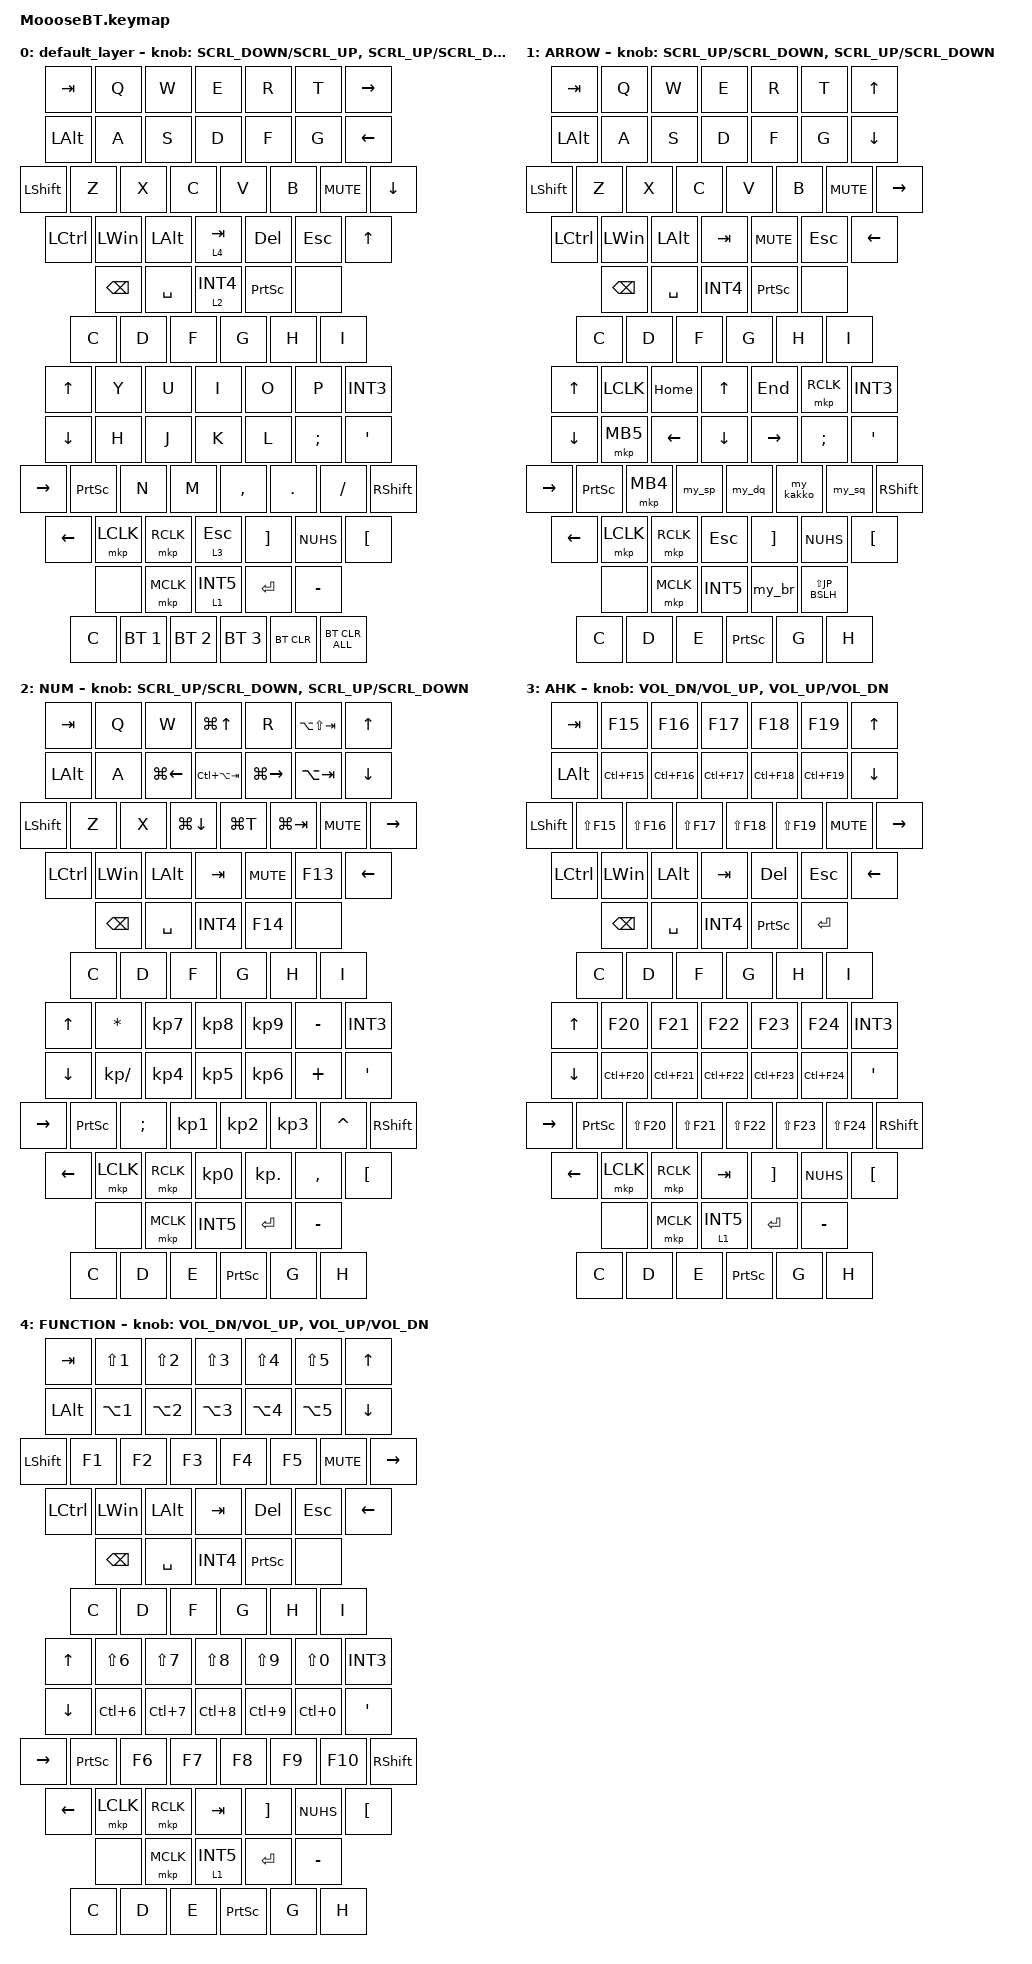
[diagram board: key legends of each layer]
#include <behaviors.dtsi>
#include <dt-bindings/zmk/bt.h>
#include <dt-bindings/zmk/keys.h>
#include <dt-bindings/zmk/mouse.h>
#include <dt-bindings/zmk/pointing.h>
#include <behaviors/rgbled_widget.dtsi>

#define ZMK_POINTING_DEFAULT_SCRL_VAL 100   //スクロール量

// Leyer
#define ARROW 1
#define NUM 2
#define AHK 3
#define FUNCTION 4
// #define SCROLL 5
// #define layer_6 6

// Japanese
#define JP_MINUS MINUS        // -
#define JP_CARET EQUAL        // ^
#define JP_YEN   INT3         // ¥
#define JP_AT    LBKT         // @
#define JP_LBKT  RBKT         // [
#define JP_EISU  CAPS         // Eisu (英数)
#define JP_SEMI  SEMI         // ;
#define JP_COLON SQT          // :
#define JP_RBKT  NUHS         // ]
#define JP_COMMA COMMA        // ,
#define JP_DOT   DOT          // .
#define JP_SLASH SLASH        // /
#define JP_BSLH  INT1         // (backslash)
#define JP_MHEN  INT5         // Muhenkan (無変換)
#define JP_HENK  INT4         // Henkan (変換)
#define JP_EXCL  LS(N1)       // !
#define JP_DQT   LS(N2)       // "
#define JP_HASH  LS(N3)       // #
#define JP_DLLR  LS(N4)       // $
#define JP_PRCNT LS(N5)       // %
#define JP_AMPS  LS(N6)       // &
#define JP_SQT   LS(N7)       // '
#define JP_LPAR  LS(N8)       // (
#define JP_RPAR  LS(N9)       // )
#define JP_EQUAL LS(JP_MINUS) // =
#define JP_TILDE LS(JP_CARET) // ~
#define JP_PIPE  LS(JP_YEN)   // |
#define JP_GRAVE LS(JP_AT)    // `
#define JP_LBRC  LS(JP_LBKT)  // {
#define JP_CAPS  LS(JP_EISU)  // Caps Lock
#define JP_PLUS  LS(JP_SEMI)  // +
#define JP_ASTRK LS(JP_COLON) // *
#define JP_RBRC  LS(JP_RBKT)  // }
#define JP_LT    LS(JP_COMMA) // <
#define JP_RT    LS(JP_DOT)   // >
#define JP_QMARK LS(JP_SLASH) // ?
#define JP_UNDER LS(JP_BSLH)  // _

/ {
    macros {
        to_layer_0: to_layer_0 {
            compatible = "zmk,behavior-macro-one-param";
            #binding-cells = <1>;
            bindings = <&to 0 &macro_param_1to1 &kp MACRO_PLACEHOLDER>;
            label = "TO_LAYER_0";
        };
        my_sp: my_sp {
            compatible = "zmk,behavior-macro";
            #binding-cells = <0>;
            bindings = <&macro_tap &kp JP_MHEN>
                , <&macro_tap &kp LS(N3)>
                ;
        };
        my_dq: my_dq {
            #binding-cells = <0>;
            compatible = "zmk,behavior-macro";
            bindings = <&macro_tap &kp JP_MHEN>
                , <&macro_tap &kp LS(N2)>
                , <&macro_tap &kp LS(N2)>
                ;
        };
        my_sq: my_sq {
            #binding-cells = <0>;
            compatible = "zmk,behavior-macro";
            bindings = <&macro_tap &kp JP_MHEN>
                , <&macro_tap &kp LS(N7)>
                , <&macro_tap &kp LS(N7)>
                ;
        };

        my_kakko: my_kakko {
            compatible = "zmk,behavior-macro";
            #binding-cells = <0>;
            bindings = <&macro_tap &kp JP_MHEN>
                , <&macro_tap &kp LS(N8)>
                , <&macro_tap &kp LS(N9)>
                ;
        };
        my_br: my_br {
            compatible = "zmk,behavior-macro";
            #binding-cells = <0>;
            bindings = <&macro_tap &kp JP_MHEN>
                , <&macro_tap &kp JP_LT>
                , <&macro_tap &kp B>
                , <&macro_tap &kp R>
                , <&macro_tap &kp JP_RT>
                ;
        };
    };

    behaviors {
        lt_to_layer_0: lt_to_layer_0 {
            compatible = "zmk,behavior-hold-tap";
            label = "LAYER_TAP_TO_0";
            bindings = <&mo>, <&to_layer_0>;
            #binding-cells = <2>;
            tapping-term-ms = <200>;
        };
        rot_kp: sensor_rotate_kp {
            compatible = "zmk,behavior-sensor-rotate-var";
            #sensor-binding-cells = <2>;
            bindings = <&kp>, <&kp>;
        };
        rot_mkp: sensor_rotate_mkp {
            compatible = "zmk,behavior-sensor-rotate-var";
            #sensor-binding-cells = <2>;
            bindings = <&mkp>, <&mkp>;
        };
        mouse_scroll: mouse_wheel_scrl{
            compatible = "zmk,behavior-sensor-rotate-var";
            #sensor-binding-cells = <2>;
            bindings = <&msc>, <&msc>;
            tap-ms = <20>;
        };
    };

    keymap {
        compatible = "zmk,keymap";
        default_layer {
            bindings = <
                &kp TAB     &kp Q      &kp W    &kp E   &kp R   &kp T                                       &kp RIGHT
                &kp LALT    &kp A      &kp S    &kp D   &kp F   &kp G                                       &kp LEFT
                &kp LSHIFT  &kp Z      &kp X    &kp C   &kp V   &kp B                            &kp C_MUTE &kp DOWN
                &kp LCTRL   &kp LWIN   &kp LALT &lt_to_layer_0 4 TAB                &kp DEL      &kp ESC    &kp UP
                                                &kp BSPC   &kp SPACE   &lt_to_layer_0 2 JP_HENK  &kp PSCRN  &none
                &kp C   &kp D           &kp F   &kp G   &kp H                       &kp I

                &kp UP                              &kp Y       &kp U          &kp I          &kp O        &kp P         &kp JP_YEN
                &kp DOWN                             &kp H       &kp J          &kp K          &kp L        &kp JP_SEMI   &kp JP_COLON
                &kp RIGHT  &kp PSCRN                 &kp N       &kp M          &kp JP_COMMA   &kp JP_DOT   &kp JP_SLASH  &kp RSHIFT
                &kp LEFT    &mkp LCLK  &mkp RCLK                                 &lt_to_layer_0 3 ESC        &kp JP_LBKT   &kp JP_RBKT   &kp JP_AT
                &none  &mkp MCLK  &lt_to_layer_0 1 JP_MHEN  &kp ENTER   &kp MINUS
                &kp C             &bt BT_SEL 1    &bt BT_SEL 2   &bt BT_SEL 3         &bt BT_CLR   &bt BT_CLR_ALL
            >;
            sensor-bindings =
                <&mouse_scroll SCRL_DOWN SCRL_UP>,
                <&mouse_scroll SCRL_UP SCRL_DOWN>;
        };
        ARROW {
            bindings = <
                &kp TAB     &kp Q      &kp W    &kp E   &kp R   &kp T                          &kp UP
                &kp LALT    &kp A      &kp S    &kp D   &kp F   &kp G                          &kp DOWN
                &kp LSHIFT  &kp Z      &kp X    &kp C   &kp V   &kp B               &kp C_MUTE &kp RIGHT
                &kp LCTRL   &kp LWIN   &kp LALT &kp TAB                &kp C_MUTE   &kp ESC    &kp LEFT
                                                &kp BSPC   &kp SPACE   &kp JP_HENK  &kp PSCRN  &none
                &kp C   &kp D           &kp F   &kp G   &kp H                       &kp I

                &kp UP                             &kp LCLK      &kp HOME       &kp UP         &kp END      &mkp RCLK     &kp JP_YEN
                &kp DOWN                           &mkp MB5      &kp LEFT       &kp DOWN       &kp RIGHT    &kp JP_SEMI   &kp JP_COLON
                &kp RIGHT  &kp PSCRN               &mkp MB4      &my_sp         &my_dq         &my_kakko    &my_sq  &kp RSHIFT
                &kp LEFT   &mkp LCLK  &mkp RCLK                                 &kp ESC        &kp JP_LBKT  &kp JP_RBKT   &kp JP_AT
                &none      &mkp MCLK  &kp JP_MHEN  &my_br &kp JP_UNDER
                &kp C           &kp D   &kp E   &kp PSCRN           &kp G   &kp H
            >;
            sensor-bindings = <&mouse_scroll SCRL_UP SCRL_DOWN &mouse_scroll SCRL_UP SCRL_DOWN>;
        };
        NUM {
            bindings = <
                &kp TAB     &kp Q      &kp W           &kp LG(UP)       &kp R           &kp LA(LS(TAB))                  &kp UP
                &kp LALT    &kp A      &kp LG(LEFT)    &kp LC(LA(TAB))  &kp LG(RIGHT)   &kp LA(TAB)                      &kp DOWN
                &kp LSHIFT  &kp Z      &kp X           &kp LG(DOWN)     &kp LG(T)       &kp LG(TAB)         &kp C_MUTE   &kp RIGHT
                &kp LCTRL   &kp LWIN   &kp LALT        &kp TAB                          &kp C_MUTE          &kp F13      &kp LEFT
                                                                   &kp BSPC   &kp SPACE &kp JP_HENK         &kp F14      &none
                &kp C   &kp D           &kp F   &kp G   &kp H                       &kp I

                &kp UP                             &kp ASTRK         &kp KP_N7       &kp KP_N8    &kp KP_N9       &kp MINUS     &kp JP_YEN
                &kp DOWN                           &kp KP_SLASH      &kp KP_N4       &kp KP_N5    &kp KP_N6       &kp PLUS      &kp JP_COLON
                &kp RIGHT  &kp PSCRN               &kp SEMI          &kp KP_N1       &kp KP_N2    &kp KP_N3       &kp CARET     &kp RSHIFT
                &kp LEFT   &mkp LCLK  &mkp RCLK                                      &kp KP_N0    &kp KP_DOT      &kp COMMA     &kp JP_AT
                &none  &mkp MCLK  &kp JP_MHEN  &kp ENTER   &kp MINUS
                &kp C           &kp D   &kp E   &kp PSCRN           &kp G   &kp H
            >;
            sensor-bindings = <&mouse_scroll SCRL_UP SCRL_DOWN &mouse_scroll SCRL_UP SCRL_DOWN>;
        };
        AHK {
            bindings = <
                &kp TAB     &kp F15      &kp F16      &kp F17      &kp F18       &kp F19                  &kp UP
                &kp LALT    &kp LC(F15)  &kp LC(F16)  &kp LC(F17)  &kp LC(F18)   &kp LC(F19)              &kp DOWN
                &kp LSHIFT  &kp LS(F15)  &kp LS(F16)  &kp LS(F17)  &kp LS(F18)   &kp LS(F19)   &kp C_MUTE &kp RIGHT
                &kp LCTRL   &kp LWIN   &kp LALT &kp TAB                          &kp DEL       &kp ESC    &kp LEFT
                                                          &kp BSPC   &kp SPACE   &kp JP_HENK   &kp PSCRN  &kp ENTER
                &kp C   &kp D           &kp F   &kp G   &kp H                       &kp I

                &kp UP                               &kp F20     &kp F21        &kp F22        &kp F23      &kp F24       &kp JP_YEN
                &kp DOWN                             &kp LC(F20) &kp LC(F21)    &kp LC(F22)    &kp LC(F23)  &kp LC(F24)   &kp JP_COLON
                &kp RIGHT  &kp PSCRN                 &kp LS(F20) &kp LS(F21)    &kp LS(F22)    &kp LS(F23)  &kp LS(F24)   &kp RSHIFT
                &kp LEFT   &mkp LCLK  &mkp RCLK                                 &kp TAB        &kp JP_LBKT  &kp JP_RBKT   &kp JP_AT
                &none  &mkp MCLK  &lt_to_layer_0 1 JP_MHEN  &kp ENTER   &kp MINUS
                &kp C           &kp D   &kp E        &kp PSCRN           &kp G   &kp H
            >;
            sensor-bindings = <&rot_kp C_VOL_DN C_VOL_UP &rot_kp C_VOL_UP C_VOL_DN>;
        };
        FUNCTION {
            bindings = <
                &kp TAB     &kp LS(N1)   &kp LS(N2)   &kp LS(N3)   &kp LS(N4)    &kp LS(N5)               &kp UP
                &kp LALT    &kp LA(N1)   &kp LA(N2)   &kp LA(N3)   &kp LA(N4)    &kp LA(N5)               &kp DOWN
                &kp LSHIFT  &kp F1       &kp F2       &kp F3       &kp F4        &kp F5        &kp C_MUTE &kp RIGHT
                &kp LCTRL   &kp LWIN   &kp LALT &kp TAB                          &kp DEL       &kp ESC    &kp LEFT
                                                          &kp BSPC   &kp SPACE   &kp JP_HENK   &kp PSCRN  &none
                &kp C   &kp D           &kp F   &kp G   &kp H                       &kp I

                &kp UP                               &kp LS(N6)  &kp LS(N7)     &kp LS(N8)     &kp LS(N9)   &kp LS(N0)    &kp JP_YEN
                &kp DOWN                             &kp LC(N6)  &kp LC(N7)     &kp LC(N8)     &kp LC(N9)   &kp LC(N0)    &kp JP_COLON
                &kp RIGHT  &kp PSCRN                 &kp F6      &kp F7         &kp F8         &kp F9       &kp F10       &kp RSHIFT
                &kp LEFT   &mkp LCLK  &mkp RCLK                                 &kp TAB        &kp JP_LBKT  &kp JP_RBKT   &kp JP_AT
                &none  &mkp MCLK  &lt_to_layer_0 1 JP_MHEN  &kp ENTER   &kp MINUS
                &kp C           &kp D   &kp E        &kp PSCRN           &kp G   &kp H
            >;
            sensor-bindings = <&rot_kp C_VOL_DN C_VOL_UP &rot_kp C_VOL_UP C_VOL_DN>;
        };
    };
};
